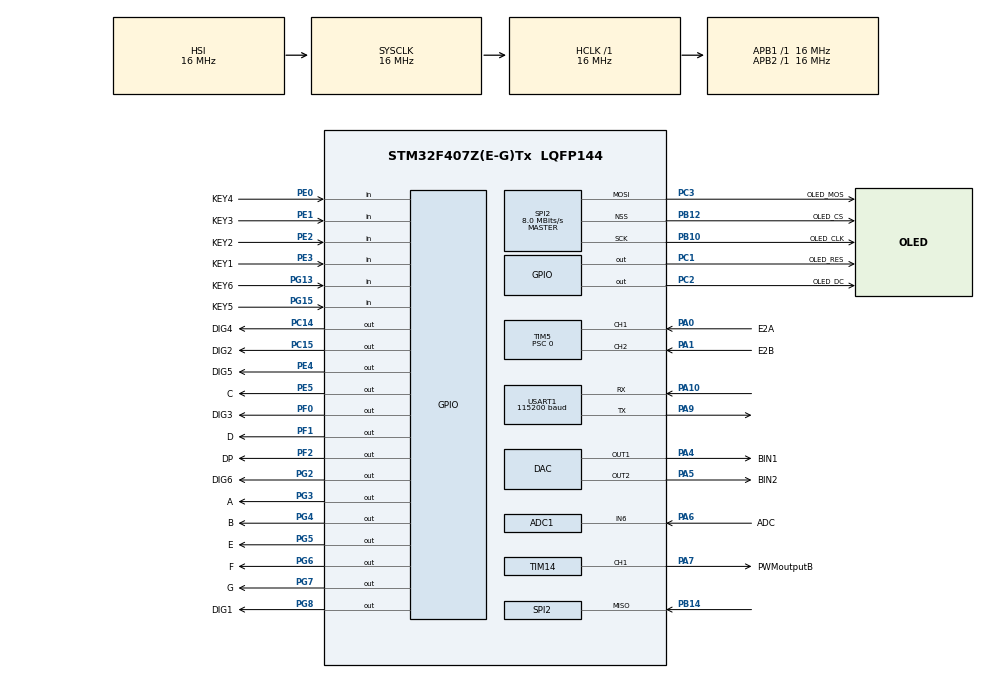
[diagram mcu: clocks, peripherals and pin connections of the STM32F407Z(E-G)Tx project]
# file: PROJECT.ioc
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ADC1.Channel-1\#ChannelRegularConversion=ADC_CHANNEL_6
ADC1.NbrOfConversionFlag=1
ADC1.Rank-1\#ChannelRegularConversion=1
ADC1.SamplingTime-1\#ChannelRegularConversion=ADC_SAMPLETIME_3CYCLES
ADC1.master=1
Mcu.Family=STM32F4
Mcu.Name=STM32F407Z(E-G)Tx
Mcu.Package=LQFP144
NVIC.PriorityGroup=NVIC_PRIORITYGROUP_4
NVIC.TIM6_DAC_IRQn=true\:0\:0\:false\:false\:true\:true\:true\:true
NVIC.USART1_IRQn=true\:0\:0\:true\:false\:true\:true\:true\:true
PA0-WKUP.GPIO_Label=E2A
PA0-WKUP.GPIO_PuPd=GPIO_PULLUP
PA0-WKUP.Signal=S_TIM5_CH1
PA1.GPIO_Label=E2B
PA1.GPIO_PuPd=GPIO_PULLUP
PA1.Signal=S_TIM5_CH2
PA10.Mode=Asynchronous
PA10.Signal=USART1_RX
PA4.GPIO_Label=BIN1
PA4.Signal=COMP_DAC1_group
PA5.GPIO_Label=BIN2
PA5.Signal=SharedAnalog_PA5
PA6.GPIO_Label=ADC
PA6.Signal=ADCx_IN6
PA7.GPIO_Label=PWMoutputB
PA7.Signal=S_TIM14_CH1
PA9.Mode=Asynchronous
PA9.Signal=USART1_TX
PB10.GPIO_Label=OLED_CLK
PB10.Mode=Full_Duplex_Master
PB10.Signal=SPI2_SCK
PB12.GPIO_Label=OLED_CS
PB12.Mode=NSS_Signal_Hard_Output
PB12.Signal=SPI2_NSS
PB14.Mode=Full_Duplex_Master
PB14.Signal=SPI2_MISO
PC1.GPIO_Label=OLED_RES
PC1.Signal=GPIO_Output
PC14-OSC32_IN.GPIO_Label=DIG4
PC14-OSC32_IN.Signal=GPIO_Output
PC15-OSC32_OUT.GPIO_Label=DIG2
PC15-OSC32_OUT.Signal=GPIO_Output
PC2.GPIO_Label=OLED_DC
PC2.Signal=GPIO_Output
PC3.GPIO_Label=OLED_MOS
PC3.Mode=Full_Duplex_Master
PC3.Signal=SPI2_MOSI
PE0.GPIO_Label=KEY4
PE0.Signal=GPIO_Input
PE1.GPIO_Label=KEY3
PE1.Signal=GPIO_Input
PE2.GPIO_Label=KEY2
PE2.Signal=GPIO_Input
PE3.GPIO_Label=KEY1
PE3.Signal=GPIO_Input
PE4.GPIO_Label=DIG5
PE4.Signal=GPIO_Output
PE5.GPIO_Label=C
PE5.Signal=GPIO_Output
PF0.GPIO_Label=DIG3
PF0.Signal=GPIO_Output
PF1.GPIO_Label=D
PF1.Signal=GPIO_Output
PF2.GPIO_Label=DP
PF2.Signal=GPIO_Output
PG13.GPIO_Label=KEY6
PG13.Signal=GPIO_Input
PG15.GPIO_Label=KEY5
PG15.Signal=GPIO_Input
PG2.GPIO_Label=DIG6
PG2.Signal=GPIO_Output
PG3.GPIO_Label=A
PG3.Signal=GPIO_Output
PG4.GPIO_Label=B
PG4.Signal=GPIO_Output
PG5.GPIO_Label=E
PG5.Signal=GPIO_Output
PG6.GPIO_Label=F
PG6.Signal=GPIO_Output
PG7.GPIO_Label=G
PG7.Signal=GPIO_Output
PG8.GPIO_Label=DIG1
PG8.Signal=GPIO_Output
ProjectManager.HeapSize=0x200
ProjectManager.StackSize=0x400
ProjectManager.TargetToolchain=MDK-ARM V5.32
RCC.AHBFreq_Value=16000000
RCC.APB1Freq_Value=16000000
RCC.APB2Freq_Value=16000000
RCC.CortexFreq_Value=16000000
RCC.HSE_VALUE=25000000
RCC.HSI_VALUE=16000000
RCC.LSE_VALUE=32768
RCC.SYSCLKFreq_VALUE=16000000
RCC.VCOOutputFreq_Value=192000000
RTC.WakeUpClock=RTC_WAKEUPCLOCK_CK_SPRE_16BITS
SH.ADCx_IN6.0=ADC1_IN6,IN6
SH.COMP_DAC1_group.0=DAC_OUT1,DAC_OUT1
SH.S_TIM14_CH1.0=TIM14_CH1,PWM Generation1 CH1
SH.S_TIM5_CH1.0=TIM5_CH1,Encoder_Interface
SH.S_TIM5_CH2.0=TIM5_CH2,Encoder_Interface
SH.SharedAnalog_PA5.0=ADC1_IN5
SH.SharedAnalog_PA5.1=DAC_OUT2,DAC_OUT2
SPI2.CalculateBaudRate=8.0 MBits/s
SPI2.Direction=SPI_DIRECTION_2LINES
SPI2.Mode=SPI_MODE_MASTER
SPI2.VirtualNSS=VM_NSSHARD
SPI2.VirtualType=VM_MASTER
TIM14.Channel=TIM_CHANNEL_1
TIM14.Period=99
TIM14.Prescaler=15999
TIM5.EncoderMode=TIM_ENCODERMODE_TI12
TIM5.IC1Filter=0
TIM5.IC2Filter=0
TIM5.Period=65535
TIM5.Prescaler=0
TIM6.Period=9
TIM6.Prescaler=15999
USART1.BaudRate=115200
USART1.VirtualMode=VM_ASYNC
VP_RTC_VS_RTC_Activate.Mode=RTC_Enabled
VP_RTC_VS_RTC_Calendar.Mode=RTC_Calendar
VP_RTC_VS_RTC_WakeUp_intern.Mode=WakeUp
VP_TIM14_VS_ClockSourceINT.Mode=Enable_Timer
VP_TIM6_VS_ClockSourceINT.Mode=Enable_Timer
board=custom

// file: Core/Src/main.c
/* USER CODE BEGIN Header */
/**
  ******************************************************************************
  * @file           : main.c
  * @brief          : Main program body
  ******************************************************************************
  * @attention
  *
  * Copyright (c) 2025 STMicroelectronics.
  * All rights reserved.
  *
  * This software is licensed under terms that can be found in the LICENSE file
  * in the root directory of this software component.
  * If no LICENSE file comes with this software, it is provided AS-IS.
  *
  ******************************************************************************
  */
/* USER CODE END Header */
#include "main.h"
#include "adc.h"
#include "dac.h"
#include "rtc.h"
#include "spi.h"
#include "tim.h"
#include "usart.h"
#include "gpio.h"

/* USER CODE BEGIN Includes */
#include "PWMoutput.h"
#include "oled.h"
#include "SystemDisplay.h"
#include "ENCODER.h"
#include "DAAD.h"
#include "stm32f4xx_hal.h"
#include <stdlib.h>
#include <stdio.h>
#include "math.h"
#include "stm32f4xx_hal.h"
#include "DIG.h"
/* USER CODE END Includes */

/* USER CODE BEGIN PTD */
float PWM_COMPARE=0;
int v[5]={0};
int ReTVelocity=0, AveVelocity=0, *MaxVelocity=v, *MinVelocity=v;
int newCapPul=0, lastCapPul=0, newCapPul1=0, newCapPul2=0;
int SetVal=0;
int ReaVal=0;
int PercentageError=0;
int SettTime=0;
int Direcion=0;
int Position=0, Target=0;
// 定义PID参数
typedef struct
{
	float Kp;
	float Ki;
	float Kd;
} PID_Controller;
PID_Controller pid_params = {0.1, 0.1, 0.05};
//Kp=0.06,Ki=0.13,Kd=0.05 200 1209ms√
//Kp=0.07,Ki=0.14618,Kd=0.05 100
//Kp=0.07,Ki=0.149,Kd=0.05 100 1056ms√
//Kp=0.05,Ki=0.16,Kd=0.05 100

// 定义全局接收缓冲区
char rx_buffer[32];
int rx_index = 0;  // 接收缓冲区的索引
// 定义响应字符串
const uint8_t start[] = "PID参数设置启动\r\n";
const uint8_t success_response[] = "PID参数设置成功\r\n";
const uint8_t failure_response[] = "PID参数设置失败: 格式错误\r\n";
int MaxV=0, MinV=0;
int i=0;
int flag = 0;
static float Bias=0, PWM=0, Integral_Bias=0, Last_Bias=0;
int f=0;
int cnt = 0;
int times = 0;

uint32_t start_time;
uint32_t end_time;
/* USER CODE END PTD */

/* USER CODE BEGIN PD */
int	TargetVelocity = 300;
int dt=1;
/* USER CODE END PD */

/* USER CODE BEGIN PV */
float PWM_Position_PID(int Position, int Target)
	{
		Bias = Target-Position;
		Integral_Bias += Bias*dt;
		PWM = pid_params.Kp*Bias+pid_params.Ki*Integral_Bias+pid_params.Kd*(Bias-Last_Bias)/dt;
		Last_Bias = Bias;
		if(PWM_COMPARE>=100) PWM=100;
		return PWM;
	}
float outer_pid_controller(float setpoint, float input, float kp, float ki, float kd, float dt) {
    static float integral = 0;
    static float prev_error = 0;
    float error = setpoint - input;

    // 计算积分项
    integral += error * dt;

    // 计算微分项
    float derivative = (error - prev_error) / dt;

    // 计算输出
    float output = kp * error + ki * integral + kd * derivative;

    // 更新上一个误差
    prev_error = error;

    return output;
}

float inner_pid_controller(float setpoint, float input, float kp, float ki, float kd, float dt) {
    static float integral = 0;
    static float prev_error = 0;
    float error = setpoint - input;

    // 计算积分项
    integral += error * dt;

    // 计算微分项
    float derivative = (error - prev_error) / dt;

    // 计算输出
    float output = kp * error + ki * integral + kd * derivative;

    // 更新上一个误差
    prev_error = error;

    return output;
}

float double_pid_controller(float setpoint, float input, float outer_kp, float outer_ki, float outer_kd, float inner_kp, float inner_ki, float inner_kd, float dt) {
    // 计算外环控制器输出
    float outer_output = outer_pid_controller(setpoint, input, outer_kp, outer_ki, outer_kd, dt);

    // 计算内环控制器输出
    float inner_output = inner_pid_controller(outer_output, input, inner_kp, inner_ki, inner_kd, dt);

    return inner_output;
}

// 手动构建字符串并发送实时速度和目标速度
void Send_Speed_Data(UART_HandleTypeDef *huart, float current_speed, float target_speed) {
    char buffer[64];
    int len = sprintf(buffer, "%f,%f\n", current_speed, target_speed);
    HAL_UART_Transmit(huart, (uint8_t *)buffer, len, 1000);
}

/* USER CODE END PV */

void SystemClock_Config(void);
/* USER CODE BEGIN PFP */
void PID_Start(void);
/* USER CODE END PFP */

/* USER CODE BEGIN 0 */
	//外设控制
void process(const char*buffer)
{
	if(sscanf(buffer, "Kp=%f,Ki=%f,Kd=%f", &pid_params.Kp, &pid_params.Ki, &pid_params.Kd)==3)
	{
		HAL_UART_Transmit(&huart1, (uint8_t *)success_response, sizeof(success_response) - 1, 1000);
	}
	else HAL_UART_Transmit(&huart1, (uint8_t *)failure_response, sizeof(success_response) - 1, 1000);
}
void HAL_UART_RxCpltCallback(UART_HandleTypeDef *huart) {
    if (huart == &huart1) {
      rx_buffer[rx_index++] = (char)huart1.Instance->DR;
			if(rx_buffer[rx_index-1]=='\n')
			{
				rx_buffer[rx_index-1]='\0';
				process(rx_buffer);
				rx_index = 0;
			}
    }
		HAL_UART_Receive_IT(&huart1, (uint8_t *)&huart1.Instance->DR, 1);
}

/* USER CODE END 0 */

int main(void)
{

  /* USER CODE BEGIN 1 */
	//定时器3的通道1和通道2的Encoder Mode开启使能函数
	HAL_TIM_Encoder_Start(&htim5,TIM_CHANNEL_1 | TIM_CHANNEL_2);
  /* USER CODE END 1 */

  /* MCU Configuration--------------------------------------------------------*/

  /* Reset of all peripherals, Initializes the Flash interface and the Systick. */
  HAL_Init();

  /* Configure the system clock */
  SystemClock_Config();

  /* Initialize all configured peripherals */
  MX_GPIO_Init();
  MX_TIM14_Init();
  MX_ADC1_Init();
  MX_DAC_Init();
  MX_SPI2_Init();
  MX_TIM5_Init();
  MX_RTC_Init();
  MX_USART1_UART_Init();
  MX_TIM6_Init();
  /* USER CODE BEGIN 2 */
	//OLED
	OLED_Init();

	//PWMoutput
	HAL_TIM_Base_Start(&htim14);
	HAL_TIM_PWM_Start(&htim14, TIM_CHANNEL_1);
	__HAL_TIM_SetCompare(&htim14, TIM_CHANNEL_1, PWM_COMPARE);

	//电机测速显示功能
	HAL_TIM_Base_Start(&htim5);

	//DAC给予电平
	Start_BIN1;
	Start_BIN2;
	ToggleDir1();

	//外设修改PID参数

  /* USER CODE END 2 */

  /* Infinite loop */
  /* USER CODE BEGIN WHILE */
  while (1)
  {
		/*
		int PWM_COMPARE=50;
		int AveVelocity;
		int MaxVelocity;
		int MinVelocity;
		int SetVal;
		int ReaVal;
		int SettTime;
		*/
		HAL_UART_Receive_IT(&huart1, (uint8_t *)&huart1.Instance->DR, 1);
		//PWMoutput
		if(DETECT_KEY1()==RESET)
		{
			HAL_Delay(200);
			if(DETECT_KEY1()==RESET)
					TargetVelocity = Tv_Increase(TargetVelocity);
		}
		if(DETECT_KEY2()==RESET)
		{
			HAL_Delay(200);
			if(DETECT_KEY1()==RESET)
					TargetVelocity = Tv_Decrease(TargetVelocity);
		}

		//开启/关闭pid控制
		//开
		if(DETECT_KEY6()==RESET)
		{
			HAL_Delay(200);
			if(DETECT_KEY6()==RESET)
			{
				PWM_COMPARE = 0;
				flag = 1;
				start_time = HAL_GetTick();
				times++;
			}
		}
		//关
		if(DETECT_KEY5()==RESET)
		{
			HAL_Delay(200);
			if(DETECT_KEY5()==RESET)
			{
				PWM = PWM_COMPARE = 0;
				flag = 0;
				Last_Bias = 0;
				Integral_Bias = 0;
				Bias = 0;
				Position=0;
				f = 0;

				__HAL_TIM_SetCompare(&htim14, TIM_CHANNEL_1, PWM_COMPARE);
			}
		}

		//测速功能
		newCapPul1=(short)__HAL_TIM_GET_COUNTER(&htim5);
		HAL_Delay(100);
		newCapPul2=(short)__HAL_TIM_GET_COUNTER(&htim5);
		newCapPul = abs(newCapPul1-newCapPul2);
		__HAL_TIM_GET_COUNTER(&htim5)=0;
		newCapPul=newCapPul*0.8+lastCapPul*0.2;

		lastCapPul=newCapPul;
		ReTVelocity=newCapPul*10*60/(13*4*30);//检测周期100ms,使用四倍频
		//
		v[i]=ReTVelocity;
		i++;
		if(i==5) i=0;
		AveVelocity = Get_AveV(v);
		//
		MaxV = Find_Max(v);
		MinV = Find_Min(v);

		//转向控制&检测
		if(DETECT_KEY3()==RESET)
		{
			HAL_Delay(200);
			if(DETECT_KEY3()==RESET)
				ToggleDir1();
		}
		else if(DETECT_KEY4()==RESET)
		{
			HAL_Delay(200);
			if(DETECT_KEY4()==RESET)
				ToggleDir2();
		}
		Direcion = 0;
		if(__HAL_TIM_IS_TIM_COUNTING_DOWN(&htim5))
			Direcion = NegDir;
		else if(!__HAL_TIM_IS_TIM_COUNTING_DOWN(&htim5))
			Direcion = PosDir;

		//pid控制
		//处理上位机数据包
		Position = ReTVelocity;
		ReaVal = Position;
		Target = TargetVelocity;//TargetVelocity 300
		SetVal = Target;
		if(flag)
		{
			PWM_COMPARE = PWM_Position_PID(Position, Target);
			__HAL_TIM_SetCompare(&htim14, TIM_CHANNEL_1, PWM_COMPARE);
			//上位机曲线绘制
			Send_Speed_Data(&huart1, ReTVelocity, TargetVelocity);
		}

		//时间检测
		PercentageError = (SetVal-ReaVal)*100/SetVal;
		if(PercentageError==0 && f==0)
		{
			cnt++;
			if(cnt==5){
				HAL_Delay(1);
				end_time = HAL_GetTick();
				SettTime = end_time - start_time;//ms
				cnt=0;
				f=1;
			}
		}

		//系统显示功能
		OLED_Display_SystemDetail(PWM_COMPARE, ReTVelocity, AveVelocity, MaxV, MinV, SetVal, ReaVal, SettTime, Direcion);

		//OLED0
		OLED_Refresh();

		//DIG
		Display_0();
		switch(times)
		{
			case 1:
				Display_1();
				break;
			case 2:
				Display_2();
				break;
			case 3:
				Display_3();
				break;
			case 4:
				Display_4();
				break;
			case 5:
				Display_5();
				break;
			case 6:
				Display_6();
				break;
			case 7:
				Display_7();
				break;
			case 8:
				Display_8();
				break;
		}

		HAL_Delay(dt);
    /* USER CODE END WHILE */

  }
}

void SystemClock_Config(void)
{
  RCC_OscInitTypeDef RCC_OscInitStruct = {0};
  RCC_ClkInitTypeDef RCC_ClkInitStruct = {0};

  /** Configure the main internal regulator output voltage
  */
  __HAL_RCC_PWR_CLK_ENABLE();
  __HAL_PWR_VOLTAGESCALING_CONFIG(PWR_REGULATOR_VOLTAGE_SCALE1);

  /** Initializes the RCC Oscillators according to the specified parameters
  * in the RCC_OscInitTypeDef structure.
  */
  RCC_OscInitStruct.OscillatorType = RCC_OSCILLATORTYPE_HSI|RCC_OSCILLATORTYPE_LSI;
  RCC_OscInitStruct.HSIState = RCC_HSI_ON;
  RCC_OscInitStruct.HSICalibrationValue = RCC_HSICALIBRATION_DEFAULT;
  RCC_OscInitStruct.LSIState = RCC_LSI_ON;
  RCC_OscInitStruct.PLL.PLLState = RCC_PLL_NONE;
  if (HAL_RCC_OscConfig(&RCC_OscInitStruct) != HAL_OK)
  {
    Error_Handler();
  }

  /** Initializes the CPU, AHB and APB buses clocks
  */
  RCC_ClkInitStruct.ClockType = RCC_CLOCKTYPE_HCLK|RCC_CLOCKTYPE_SYSCLK
                              |RCC_CLOCKTYPE_PCLK1|RCC_CLOCKTYPE_PCLK2;
  RCC_ClkInitStruct.SYSCLKSource = RCC_SYSCLKSOURCE_HSI;
  RCC_ClkInitStruct.AHBCLKDivider = RCC_SYSCLK_DIV1;
  RCC_ClkInitStruct.APB1CLKDivider = RCC_HCLK_DIV1;
  RCC_ClkInitStruct.APB2CLKDivider = RCC_HCLK_DIV1;

  if (HAL_RCC_ClockConfig(&RCC_ClkInitStruct, FLASH_LATENCY_0) != HAL_OK)
  {
    Error_Handler();
  }
}

/* USER CODE BEGIN 4 */
//电机测速功能

/* USER CODE END 4 */

void Error_Handler(void)
{
  __disable_irq();
  while (1)
  {
  }
}
